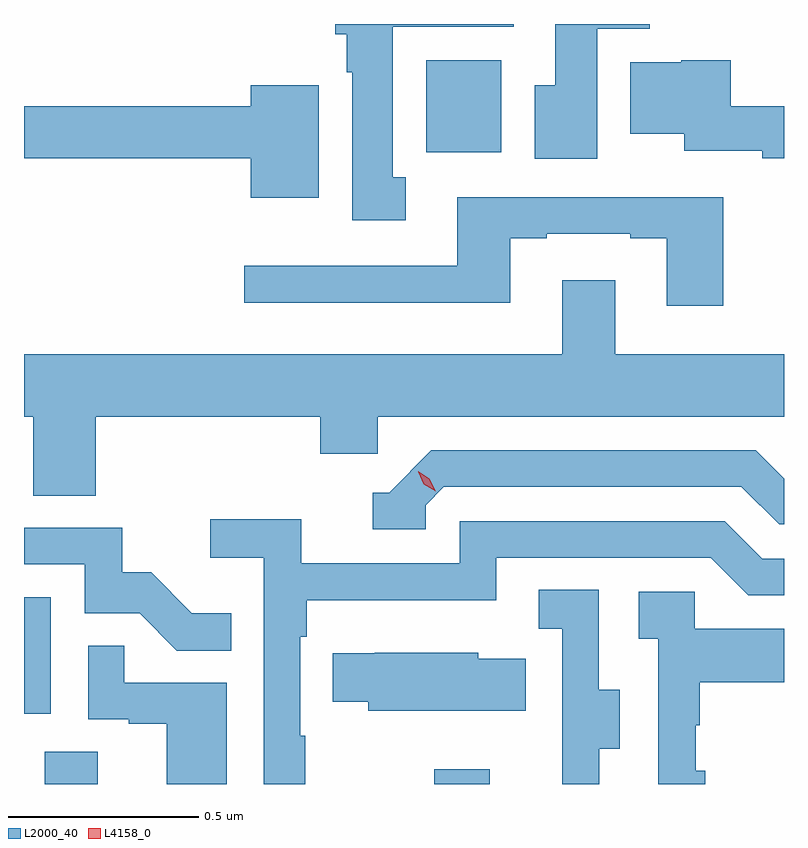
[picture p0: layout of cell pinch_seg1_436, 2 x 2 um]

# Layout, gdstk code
import gdstk
lib = gdstk.Library(unit=1e-6, precision=1e-09)
def R(c, l, rs):  # rectangles x0, y0, x1, y1
    for r in rs: c.add(gdstk.rectangle(r[:2], r[2:], *l))
def P(c, l, *ps):  # polygons
    for p in ps: c.add(gdstk.Polygon(p, *l))
L2000_40 = (2000, 40)
L4158_0 = (4158, 0)

pinch_seg1_436 = lib.new_cell('pinch_seg1_436')
R(pinch_seg1_436, L2000_40, [(929.591,529.453,929.731,529.538), (930.616,529.453,930.763,529.492), (929.537,529.638,929.608,529.945), (930.596,531.116,930.793,531.358)])
P(pinch_seg1_436, L2000_40, [(930.541,531.05),(930.508,531.05),(930.508,531.446),(930.826,531.446),(930.826,531.453),(930.356,531.453),(930.356,531.426),(930.386,531.426),(930.386,531.326),(930.401,531.326),(930.401,530.937),(930.541,530.937)],
  [(931.045,531.44),(931.184,531.44),(931.184,531.453),(930.935,531.453),(930.935,531.292),(930.881,531.292),(930.881,531.099),(931.045,531.099)],
  [(931.537,531.236),(931.397,531.236),(931.397,531.358),(931.266,531.358),(931.266,531.352),(931.133,531.352),(931.133,531.164),(931.274,531.164),(931.274,531.12),(931.48,531.12),(931.48,531.1),(931.537,531.1)],
  [(930.313,531.292),(930.134,531.292),(930.134,531.236),(929.537,531.236),(929.537,531.1),(930.134,531.1),(930.134,530.996),(930.313,530.996)],
  [(931.377,530.997),(930.677,530.997),(930.677,530.817),(930.117,530.817),(930.117,530.72),(930.817,530.72),(930.817,530.889),(930.913,530.889),(930.913,530.901),(931.133,530.901),(931.133,530.889),(931.229,530.889),(931.229,530.712),(931.377,530.712)],
  [(929.726,530.42),(930.317,530.42),(930.317,530.322),(930.468,530.322),(930.468,530.42),(931.537,530.42),(931.537,530.584),(931.093,530.584),(931.093,530.779),(930.953,530.779),(930.953,530.584),(929.537,530.584),(929.537,530.42),(929.561,530.42),(929.561,530.212),(929.726,530.212)],
  [(930.594,530.187),(930.642,530.235),(931.425,530.235),(931.524,530.136),(931.537,530.136),(931.537,530.256),(931.462,530.331),(930.609,530.331),(930.498,530.22),(930.455,530.22),(930.455,530.124),(930.594,530.124)],
  [(930.277,529.58),(930.264,529.58),(930.264,529.841),(930.281,529.841),(930.281,529.937),(930.78,529.937),(930.78,530.049),(931.344,530.049),(931.443,529.95),(931.537,529.95),(931.537,530.046),(931.48,530.046),(931.381,530.145),(930.684,530.145),(930.684,530.034),(930.266,530.034),(930.266,530.15),(930.027,530.15),(930.027,530.048),(930.168,530.048),(930.168,529.453),(930.277,529.453)],
  [(930.083,529.903),(929.979,529.903),(929.872,530.01),(929.796,530.01),(929.796,530.127),(929.537,530.127),(929.537,530.031),(929.697,530.031),(929.697,529.902),(929.841,529.902),(929.939,529.804),(930.083,529.804)],
  [(931.051,529.546),(931.105,529.546),(931.105,529.701),(931.05,529.701),(931.05,529.964),(930.891,529.964),(930.891,529.861),(930.954,529.861),(930.954,529.557),(930.953,529.557),(930.953,529.453),(931.051,529.453)],
  [(931.33,529.488),(931.305,529.488),(931.305,529.607),(931.315,529.607),(931.315,529.721),(931.537,529.721),(931.537,529.861),(931.302,529.861),(931.302,529.959),(931.155,529.959),(931.155,529.835),(931.206,529.835),(931.206,529.453),(931.33,529.453)],
  [(930.07,529.719),(929.801,529.719),(929.801,529.817),(929.706,529.817),(929.706,529.623),(929.813,529.623),(929.813,529.611),(929.912,529.611),(929.912,529.453),(930.07,529.453)],
  [(930.857,529.783),(930.732,529.783),(930.732,529.798),(930.46,529.798),(930.46,529.797),(930.349,529.797),(930.349,529.669),(930.443,529.669),(930.443,529.646),(930.857,529.646)])
P(pinch_seg1_436, L4158_0, [(930.62,530.223),(930.589,530.242),(930.574,530.275),(930.574,530.276),(930.574,530.276),(930.604,530.256),(930.62,530.223),(930.62,530.223)])

lib.write_gds('pinch_seg1_436.gds')
